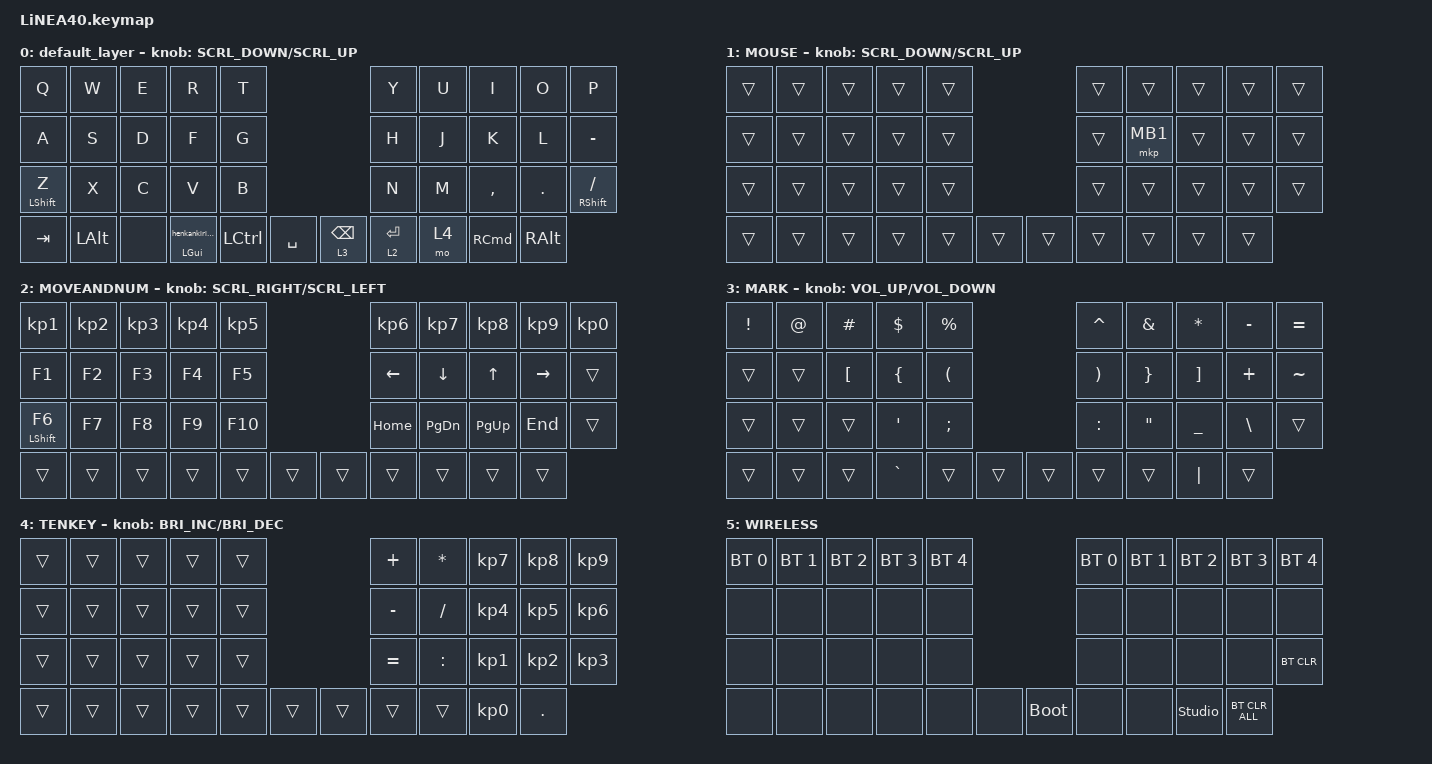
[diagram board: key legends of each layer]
#define ZMK_POINTING_DEFAULT_SCRL_VAL 150

#include <dt-bindings/zmk/input_transform.h>
#include <input/processors.dtsi>
#include <zephyr/dt-bindings/input/input-event-codes.h>
#include <behaviors.dtsi>
#include <dt-bindings/zmk/bt.h>
#include <dt-bindings/zmk/keys.h>
#include <dt-bindings/zmk/pointing.h>

#define MOUSE 1
#define MARK 2
#define CURSOR 3
#define FUNCTION 4
#define SCROLL 5
#define WIRELESS 6

//mouse cursol

&mmv {
    delay-ms = <20>;
    trigger-period-ms = <5>;
    time-to-max-speed-ms = <100>;
    acceleration-exponent = <2>;
};

//mouse scroll

&msc {
    delay-ms = <3>;
    trigger-period-ms = <3>;
    time-to-max-speed-ms = <100>;
    acceleration-exponent = <0>;
};

&mt { flavor = "balanced"; };

&lt {
    quick-tap-ms = <160>;
    tapping-term-ms = <175>;
};

/ {
    input_processors {
        zip_wheel_scaler: zip_wheel_scaler {
            compatible = "zmk,input-processor-scaler";
            #input-processor-cells = <2>;
            type = <INPUT_EV_REL>;
            codes = <INPUT_REL_WHEEL>;
            track-remainders;
        };
    };
};

&msc_input_listener {
    speed_up {
        layers = <FUNCTION>;
        input-processors = <&zip_wheel_scaler 3 1>; //スクロールを3倍速にする
    };
};

&trackball_listener {
    scroller {
        layers = <SCROLL>;
        input-processors =
            <&zip_xy_transform INPUT_TRANSFORM_Y_INVERT>,
            //スクロール方向を逆転,,,,,,,,,,,,,,,,,,,,,
            <&zip_xy_to_scroll_mapper>;
    };
};

/ {
    combos {
        compatible = "zmk,combos";

        wireless {
            bindings = <&sl 5>;
            key-positions = <36 9>;
        };

        mouse_R_click {
            bindings = <&mkp RCLK>;
            key-positions = <16 17>;
            layers = <1>;
        };

        mouse_C_click {
            bindings = <&mkp MCLK>;
            key-positions = <16 17 18>;
            layers = <1>;
        };

        mouse_back {
            bindings = <&mkp MB4>;
            key-positions = <6 7>;
            layers = <1>;
        };

        mouse_next {
            bindings = <&mkp MB5>;
            key-positions = <7 8>;
            layers = <1>;
        };

        insert {
            bindings = <&kp INSERT>;
            key-positions = <26 27>;
            layers = <2>;
        };

        delete {
            bindings = <&kp DELETE>;
            key-positions = <26 25>;
            layers = <2>;
        };

        sc {
            bindings = <&screenshot>;
            key-positions = <0 1>;
            layers = <2>;
        };

        sc_crip {
            bindings = <&cripboard_screenshot>;
            key-positions = <0 1 2>;
            layers = <2>;
        };

        kakko1 {
            bindings = <&kakko1>;
            key-positions = <14 15>;
            layers = <3>;
        };

        kakko2 {
            bindings = <&kakko2>;
            key-positions = <13 16>;
            layers = <3>;
        };

        kakko3 {
            bindings = <&kakko3>;
            key-positions = <12 17>;
            layers = <3>;
        };

        kakko4 {
            bindings = <&kakko4>;
            key-positions = <27 28>;
            layers = <0>;
        };

        dquot {
            bindings = <&dquot>;
            key-positions = <25 26>;
            layers = <3>;
        };

        squot {
            bindings = <&squot>;
            key-positions = <23 24>;
            layers = <3>;
        };

        bquot {
            bindings = <&backquot>;
            key-positions = <34 23>;
            layers = <3>;
        };

        code {
            bindings = <&code>;
            key-positions = <23 33>;
        };

        f11 {
            bindings = <&kt F11>;
            key-positions = <10 11>;
            layers = <2>;
        };

        f12 {
            bindings = <&kt F12>;
            key-positions = <11 12>;
            layers = <2>;
        };

        tab {
            bindings = <&kp TAB>;
            key-positions = <10 11>;
            layers = <0>;
        };

        esc {
            bindings = <&kp ESC>;
            key-positions = <0 1>;
            layers = <0>;
        };
    };

    behaviors {
        re_kp: sensor_rotate_kp {
            compatible = "zmk,behavior-sensor-rotate-var";
            #sensor-binding-cells = <2>;
            bindings = <&kp>, <&kp>;
        };

        mouse_scrl: mouse_wheel_scrl {
            compatible = "zmk,behavior-sensor-rotate-var";
            #sensor-binding-cells = <2>;
            bindings = <&msc>, <&msc>;

            tap-ms = <20>;
        };

        mtkana: mtkana {
            compatible = "zmk,behavior-hold-tap";
            label = "MTKANA";
            bindings = <&kp>, <&henkankirikae>;

            #binding-cells = <2>;
            tapping-term-ms = <150>;
            flavor = "tap-preferred";
        };
    };

    macros {
        screenshot: screenshot {
            compatible = "zmk,behavior-macro";
            #binding-cells = <0>;
            bindings =
                <&macro_press>,
                <&kp LEFT_GUI &kp LEFT_SHIFT>,
                <&macro_tap>,
                <&kp NUMBER_4>,
                <&macro_release>,
                <&kp LEFT_GUI &kp LEFT_SHIFT>;

            label = "SCREENSHOT";
        };

        cripboard_screenshot: cripboard_screenshot {
            compatible = "zmk,behavior-macro";
            #binding-cells = <0>;
            bindings =
                <&macro_press>,
                <&kp LEFT_GUI &kp LEFT_SHIFT &kp LCTRL>,
                <&macro_tap>,
                <&kp NUMBER_4>,
                <&macro_release>,
                <&kp LEFT_GUI &kp LEFT_SHIFT &kp LCTRL>;

            label = "CRIPBOARD_SCREENSHOT";
        };

        henkankirikae: henkankirikae {
            compatible = "zmk,behavior-macro";
            #binding-cells = <0>;
            bindings =
                <&macro_press>,
                <&kp LCTRL>,
                <&macro_tap>,
                <&kp SPACE>,
                <&macro_release>,
                <&kp LCTRL>;

            label = "HENKANKIRIKAE";
        };

        kakko1: kakko {
            compatible = "zmk,behavior-macro";
            #binding-cells = <0>;
            bindings =
                <&macro_tap>,
                <&kp LPAR &kp RPAR>,
                <&macro_tap>,
                <&kp LEFT_ARROW>;

            label = "KAKKO";
        };

        kakko2: kakko2 {
            compatible = "zmk,behavior-macro";
            #binding-cells = <0>;
            bindings =
                <&macro_tap>,
                <&kp LEFT_BRACE &kp RIGHT_BRACE>,
                <&macro_tap>,
                <&kp LEFT_ARROW>;

            label = "KAKKO2";
        };

        kakko3: kakko3 {
            compatible = "zmk,behavior-macro";
            #binding-cells = <0>;
            bindings =
                <&macro_tap>,
                <&kp LEFT_BRACKET &kp RIGHT_BRACKET>,
                <&macro_tap>,
                <&kp LEFT_ARROW>;

            label = "KAKKO3";
        };

        kakko4: kakko4 {
            compatible = "zmk,behavior-macro";
            #binding-cells = <0>;
            bindings =
                <&macro_tap>,
                <&kp LESS_THAN &kp GREATER_THAN>,
                <&macro_tap>,
                <&kp LEFT_ARROW>;

            label = "KAKKO4";
        };

        dquot: dquot {
            compatible = "zmk,behavior-macro";
            #binding-cells = <0>;
            bindings =
                <&macro_tap>,
                <&kp DOUBLE_QUOTES &kp DOUBLE_QUOTES>,
                <&macro_tap>,
                <&kp LEFT_ARROW>;

            label = "DQUOT";
        };

        squot: squot {
            compatible = "zmk,behavior-macro";
            #binding-cells = <0>;
            bindings =
                <&macro_tap>,
                <&kp SQT &kp SQT>,
                <&macro_tap>,
                <&kp LEFT_ARROW>;

            label = "SQUOT";
        };

        backquot: codearea {
            compatible = "zmk,behavior-macro";
            #binding-cells = <0>;
            bindings =
                <&macro_tap>,
                <&kp GRAVE &kp GRAVE>,
                <&macro_tap>,
                <&kp LEFT_ARROW>;

            label = "CODEAREA";
        };

        code: code {
            compatible = "zmk,behavior-macro";
            #binding-cells = <0>;
            bindings =
                <&macro_tap>,
                <&kp GRAVE &kp GRAVE &kp GRAVE>,
                <&macro_tap>,
                <&kp RETURN &kp RETURN>,
                <&macro_tap>,
                <&kp GRAVE &kp GRAVE &kp GRAVE>,
                <&macro_tap>,
                <&kp UP_ARROW>;

            label = "CODE";
        };
    };

    keymap {
        compatible = "zmk,keymap";

        default_layer {
            bindings = <
&kp Q             &kp W         &kp E  &kp R               &kp T                                    &kp Y         &kp U  &kp I      &kp O              &kp P
&kp A             &kp S         &kp D  &kp F               &kp G                                    &kp H         &kp J  &kp K      &kp L              &kp MINUS
&mt LEFT_SHIFT Z  &kp X         &kp C  &kp V               &kp B                                    &kp N         &kp M  &kp COMMA  &kp DOT            &mt RIGHT_SHIFT SLASH
&kp TAB           &kp LEFT_ALT  &none  &mtkana LEFT_GUI 0  &kp LCTRL  &kp SPACE    &lt 3 BACKSPACE  &lt 2 RETURN         &mo 4      &kp RIGHT_COMMAND  &kp RIGHT_ALT
            >;

            sensor-bindings = <&mouse_scrl SCRL_DOWN SCRL_UP>;
        };

        MOUSE {
            bindings = <
&trans  &trans  &trans  &trans  &trans                    &trans  &trans    &trans  &trans  &trans
&trans  &trans  &trans  &trans  &trans                    &trans  &mkp MB1  &trans  &trans  &trans
&trans  &trans  &trans  &trans  &trans                    &trans  &trans    &trans  &trans  &trans
&trans  &trans  &trans  &trans  &trans  &trans    &trans  &trans            &trans  &trans  &trans
            >;

            sensor-bindings = <&mouse_scrl SCRL_DOWN SCRL_UP>;
        };

        MOVEANDNUM {
            bindings = <
&kp KP_NUMBER_1    &kp KP_NUMBER_2  &kp KP_NUMBER_3  &kp KP_NUMBER_4  &kp KP_NUMBER_5                    &kp KP_NUMBER_6  &kp KP_NUMBER_7  &kp KP_NUMBER_8  &kp KP_NUMBER_9  &kp KP_NUMBER_0
&kp F1             &kp F2           &kp F3           &kp F4           &kp F5                             &kp LEFT_ARROW   &kp DOWN_ARROW   &kp UP_ARROW     &kp RIGHT_ARROW  &trans
&mt LEFT_SHIFT F6  &kp F7           &kp F8           &kp F9           &kp F10                            &kp HOME         &kp PAGE_DOWN    &kp PAGE_UP      &kp END          &trans
&trans             &trans           &trans           &trans           &trans           &trans    &trans  &trans                            &trans           &trans           &trans
            >;

            sensor-bindings = <&mouse_scrl SCRL_RIGHT SCRL_LEFT>;
        };

        MARK {
            bindings = <
&kp EXCLAMATION  &kp AT  &kp HASH          &kp DOLLAR      &kp PERCENT                             &kp CARET              &kp AMPERSAND      &kp ASTERISK       &kp MINUS      &kp EQUAL
&trans           &trans  &kp LEFT_BRACKET  &kp LEFT_BRACE  &kp LEFT_PARENTHESIS                    &kp RIGHT_PARENTHESIS  &kp RIGHT_BRACE    &kp RIGHT_BRACKET  &kp PLUS       &kp TILDE
&trans           &trans  &trans            &kp SQT         &kp SEMICOLON                           &kp COLON              &kp DOUBLE_QUOTES  &kp UNDERSCORE     &kp BACKSLASH  &trans
&trans           &trans  &trans            &kp GRAVE       &trans                &trans    &trans  &trans                                    &trans             &kp PIPE       &trans
            >;

            sensor-bindings = <&re_kp C_VOLUME_UP C_VOLUME_DOWN>;
        };

        TENKEY {
            bindings = <
&trans  &trans  &trans  &trans  &trans                    &kp PLUS   &kp ASTERISK  &kp KP_NUMBER_7  &kp KP_NUMBER_8  &kp KP_NUMBER_9
&trans  &trans  &trans  &trans  &trans                    &kp MINUS  &kp SLASH     &kp KP_NUMBER_4  &kp KP_NUMBER_5  &kp KP_NUMBER_6
&trans  &trans  &trans  &trans  &trans                    &kp EQUAL  &kp COLON     &kp KP_NUMBER_1  &kp KP_NUMBER_2  &kp KP_NUMBER_3
&trans  &trans  &trans  &trans  &trans  &trans    &trans  &trans                   &trans           &kp KP_NUMBER_0  &kp PERIOD
            >;

            sensor-bindings = <&inc_dec_kp C_BRIGHTNESS_INC C_BRIGHTNESS_DEC>;
        };

        WIRELESS {
            bindings = <
&bt BT_SEL 0  &bt BT_SEL 1  &bt BT_SEL 2  &bt BT_SEL 3  &bt BT_SEL 4                        &bt BT_SEL 0  &bt BT_SEL 1  &bt BT_SEL 2  &bt BT_SEL 3    &bt BT_SEL 4
&none         &none         &none         &none         &none                               &none         &none         &none         &none           &none
&none         &none         &none         &none         &none                               &none         &none         &none         &none           &bt BT_CLR
&none         &none         &none         &none         &none         &none    &bootloader  &none                       &none         &studio_unlock  &bt BT_CLR_ALL
            >;
        };
    };
};
